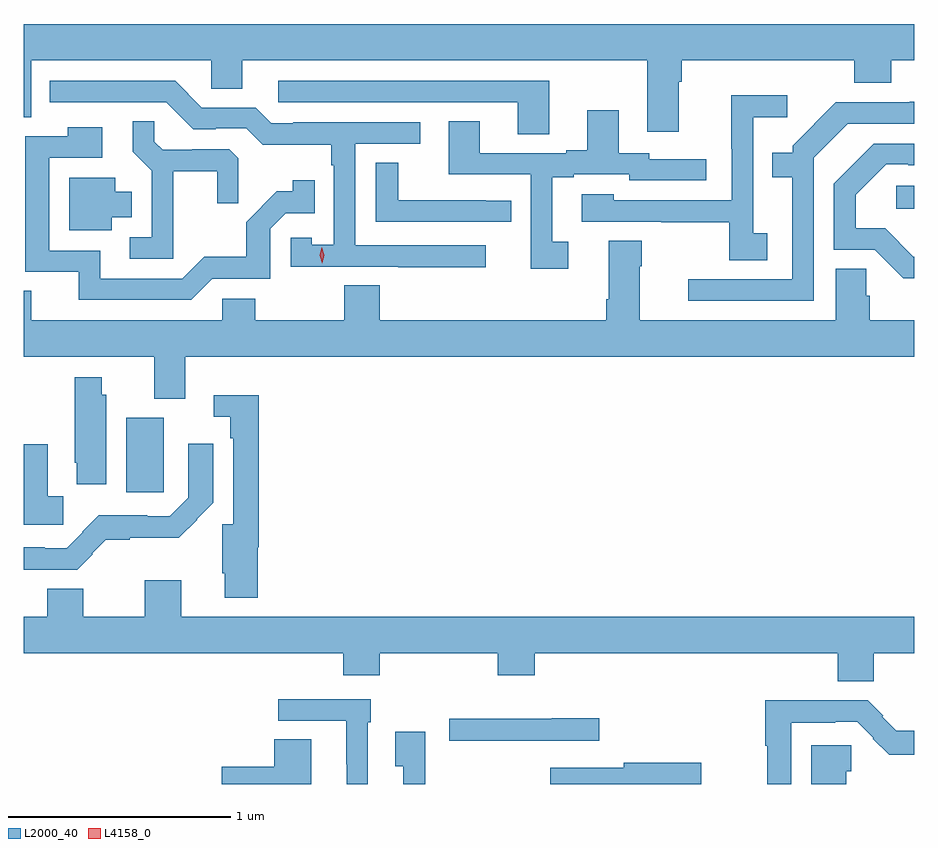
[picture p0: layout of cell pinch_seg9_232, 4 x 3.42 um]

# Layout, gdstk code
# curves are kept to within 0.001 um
import gdstk
lib = gdstk.Library(unit=1e-6, precision=1e-09)
def R(c, l, rs):  # rectangles x0, y0, x1, y1
    for r in rs: c.add(gdstk.rectangle(r[:2], r[2:], *l))
def P(c, l, *ps):  # polygons
    for p in ps: c.add(gdstk.Polygon(p, *l))
L2000_40 = (2000, 40)
L4158_0 = (4158, 0)

pinch_seg9_232 = lib.new_cell('pinch_seg9_232')
R(pinch_seg9_232, L2000_40, [(407.552,1229.112,407.722,1229.446), (411.012,1230.386,411.093,1230.489)])
P(pinch_seg9_232, L2000_40, [(410.035,1230.956),(410.048,1230.956),(410.048,1231.052),(410.825,1231.052),(410.825,1230.953),(410.99,1230.953),(410.99,1231.052),(411.093,1231.052),(411.093,1231.216),(407.093,1231.216),(407.093,1230.796),(407.125,1230.796),(407.125,1231.052),(407.934,1231.052),(407.934,1230.925),(408.073,1230.925),(408.073,1231.052),(409.895,1231.052),(409.895,1230.732),(410.035,1230.732)],
  [(409.453,1230.96),(408.237,1230.96),(408.237,1230.864),(409.313,1230.864),(409.313,1230.721),(409.453,1230.721)],
  [(409.168,1230.222),(408.582,1230.222),(408.582,1230.678),(408.874,1230.678),(408.874,1230.774),(408.304,1230.774),(408.304,1230.771),(408.204,1230.771),(408.135,1230.84),(407.892,1230.84),(407.772,1230.96),(407.21,1230.96),(407.21,1230.864),(407.733,1230.864),(407.853,1230.744),(407.954,1230.744),(407.954,1230.747),(408.093,1230.747),(408.166,1230.674),(408.474,1230.674),(408.474,1230.581),(408.486,1230.581),(408.486,1230.223),(408.387,1230.223),(408.387,1230.255),(408.291,1230.255),(408.291,1230.126),(408.775,1230.126),(408.775,1230.124),(409.168,1230.124)],
  [(410.434,1230.276),(410.37,1230.276),(410.37,1230.797),(410.524,1230.797),(410.524,1230.895),(410.272,1230.895),(410.272,1230.656),(410.274,1230.656),(410.274,1230.423),(409.743,1230.423),(409.743,1230.451),(409.599,1230.451),(409.599,1230.327),(409.957,1230.327),(409.957,1230.325),(410.262,1230.325),(410.262,1230.154),(410.434,1230.154)],
  [(410.643,1230.615),(410.796,1230.768),(411.093,1230.768),(411.093,1230.866),(411.073,1230.866),(411.073,1230.864),(410.742,1230.864),(410.547,1230.669),(410.547,1230.637),(410.455,1230.637),(410.455,1230.528),(410.546,1230.528),(410.546,1230.069),(410.079,1230.069),(410.079,1229.973),(410.643,1229.973)],
  [(409.54,1230.237),(409.468,1230.237),(409.468,1230.528),(409.564,1230.528),(409.564,1230.54),(409.812,1230.54),(409.812,1230.513),(410.158,1230.513),(410.158,1230.609),(409.902,1230.609),(409.902,1230.636),(409.765,1230.636),(409.765,1230.829),(409.625,1230.829),(409.625,1230.649),(409.529,1230.649),(409.529,1230.636),(409.141,1230.636),(409.141,1230.779),(409.001,1230.779),(409.001,1230.54),(409.371,1230.54),(409.371,1230.117),(409.54,1230.117)],
  [(407.765,1230.554),(407.962,1230.554),(407.962,1230.411),(408.056,1230.411),(408.056,1230.613),(408.015,1230.654),(407.85,1230.654),(407.85,1230.651),(407.716,1230.651),(407.679,1230.688),(407.679,1230.779),(407.581,1230.779),(407.581,1230.643),(407.667,1230.557),(407.667,1230.258),(407.568,1230.258),(407.568,1230.162),(407.765,1230.162)],
  [(407.94,1230.072),(408.201,1230.072),(408.201,1230.297),(408.27,1230.366),(408.401,1230.366),(408.401,1230.514),(408.3,1230.514),(408.3,1230.464),(408.23,1230.464),(408.093,1230.326),(408.093,1230.171),(407.904,1230.171),(407.805,1230.072),(407.437,1230.072),(407.437,1230.198),(407.208,1230.198),(407.208,1230.615),(407.446,1230.615),(407.446,1230.751),(407.29,1230.751),(407.29,1230.711),(407.1,1230.711),(407.1,1230.102),(407.339,1230.102),(407.339,1229.976),(407.844,1229.976)],
  [(411.093,1230.171),(411.09,1230.171),(410.963,1230.298),(410.83,1230.298),(410.83,1230.448),(410.967,1230.585),(411.067,1230.585),(411.067,1230.582),(411.093,1230.582),(411.093,1230.678),(410.912,1230.678),(410.733,1230.499),(410.733,1230.201),(410.916,1230.201),(411.044,1230.074),(411.093,1230.074)],
  [(409.282,1230.422),(409.169,1230.422),(409.169,1230.423),(408.774,1230.423),(408.774,1230.593),(408.675,1230.593),(408.675,1230.327),(409.282,1230.327)],
  [(407.488,1230.347),(407.578,1230.347),(407.578,1230.463),(407.503,1230.463),(407.503,1230.526),(407.297,1230.526),(407.297,1230.29),(407.488,1230.29)],
  [(407.818,1229.72),(411.093,1229.72),(411.093,1229.884),(410.894,1229.884),(410.894,1229.994),(410.879,1229.994),(410.879,1230.116),(410.741,1230.116),(410.741,1229.884),(409.861,1229.884),(409.861,1230.128),(409.869,1230.128),(409.869,1230.241),(409.721,1230.241),(409.721,1229.98),(409.709,1229.98),(409.709,1229.884),(408.692,1229.884),(408.692,1230.041),(408.532,1230.041),(408.532,1229.884),(408.132,1229.884),(408.132,1229.982),(407.985,1229.982),(407.985,1229.884),(407.125,1229.884),(407.125,1230.017),(407.093,1230.017),(407.093,1229.72),(407.678,1229.72),(407.678,1229.531),(407.818,1229.531)],
  [(407.464,1229.55),(407.443,1229.55),(407.443,1229.629),(407.321,1229.629),(407.321,1229.244),(407.33,1229.244),(407.33,1229.148),(407.464,1229.148)],
  [(408.143,1228.865),(408.149,1228.865),(408.149,1229.548),(407.946,1229.548),(407.946,1229.451),(408.021,1229.451),(408.021,1229.354),(408.033,1229.354),(408.033,1228.968),(407.984,1228.968),(407.984,1228.747),(407.996,1228.747),(407.996,1228.637),(408.143,1228.637)],
  [(407.403,1228.833),(407.399,1228.837),(407.461,1228.899),(407.569,1228.899),(407.569,1228.907),(407.789,1228.907),(407.944,1229.064),(407.944,1229.329),(407.832,1229.329),(407.832,1229.088),(407.748,1229.004),(407.648,1229.004),(407.648,1229.009),(407.429,1229.009),(407.355,1228.935),(407.358,1228.932),(407.286,1228.86),(407.186,1228.86),(407.186,1228.864),(407.093,1228.864),(407.093,1228.763),(407.333,1228.763)],
  [(407.269,1229.095),(407.2,1229.095),(407.2,1229.327),(407.093,1229.327),(407.093,1228.966),(407.269,1228.966)],
  [(410.911,1228.388),(411.093,1228.388),(411.093,1228.552),(407.8,1228.552),(407.8,1228.717),(407.636,1228.717),(407.636,1228.552),(407.359,1228.552),(407.359,1228.678),(407.198,1228.678),(407.198,1228.552),(407.093,1228.552),(407.093,1228.388),(408.527,1228.388),(408.527,1228.289),(408.692,1228.289),(408.692,1228.388),(409.223,1228.388),(409.223,1228.289),(409.388,1228.289),(409.388,1228.388),(410.75,1228.388),(410.75,1228.262),(410.911,1228.262)],
  [(408.639,1228.079),(408.652,1228.079),(408.652,1228.182),(408.237,1228.182),(408.237,1228.086),(408.542,1228.086),(408.542,1227.889),(408.543,1227.889),(408.543,1227.801),(408.639,1227.801)],
  [(410.541,1228.076),(410.738,1228.076),(410.738,1228.08),(410.838,1228.08),(410.91,1228.008),(410.907,1228.005),(410.981,1227.932),(411.093,1227.932),(411.093,1228.041),(411.013,1228.041),(410.951,1228.103),(410.955,1228.107),(410.885,1228.177),(410.425,1228.177),(410.425,1227.973),(410.433,1227.973),(410.433,1227.801),(410.541,1227.801)],
  [(409.361,1227.996),(409.678,1227.996),(409.678,1228.097),(409.465,1228.097),(409.465,1228.094),(409.005,1228.094),(409.005,1227.995),(409.361,1227.995)],
  [(408.897,1228.036),(408.761,1228.036),(408.761,1227.88),(408.798,1227.88),(408.798,1227.801),(408.897,1227.801)],
  [(408.385,1228.001),(408.218,1228.001),(408.218,1227.878),(407.982,1227.878),(407.982,1227.801),(408.385,1227.801)],
  [(410.788,1227.858),(410.811,1227.858),(410.811,1227.975),(410.63,1227.975),(410.63,1227.801),(410.788,1227.801)],
  [(410.137,1227.896),(409.788,1227.896),(409.788,1227.874),(409.457,1227.874),(409.457,1227.801),(410.137,1227.801)])
P(pinch_seg9_232, L4158_0, [(408.434,1230.141),(408.434,1230.141),(408.423,1230.177),(408.431,1230.213),(408.432,1230.213),(408.432,1230.213),(408.443,1230.178),(408.434,1230.141)])

lib.write_gds('pinch_seg9_232.gds')
